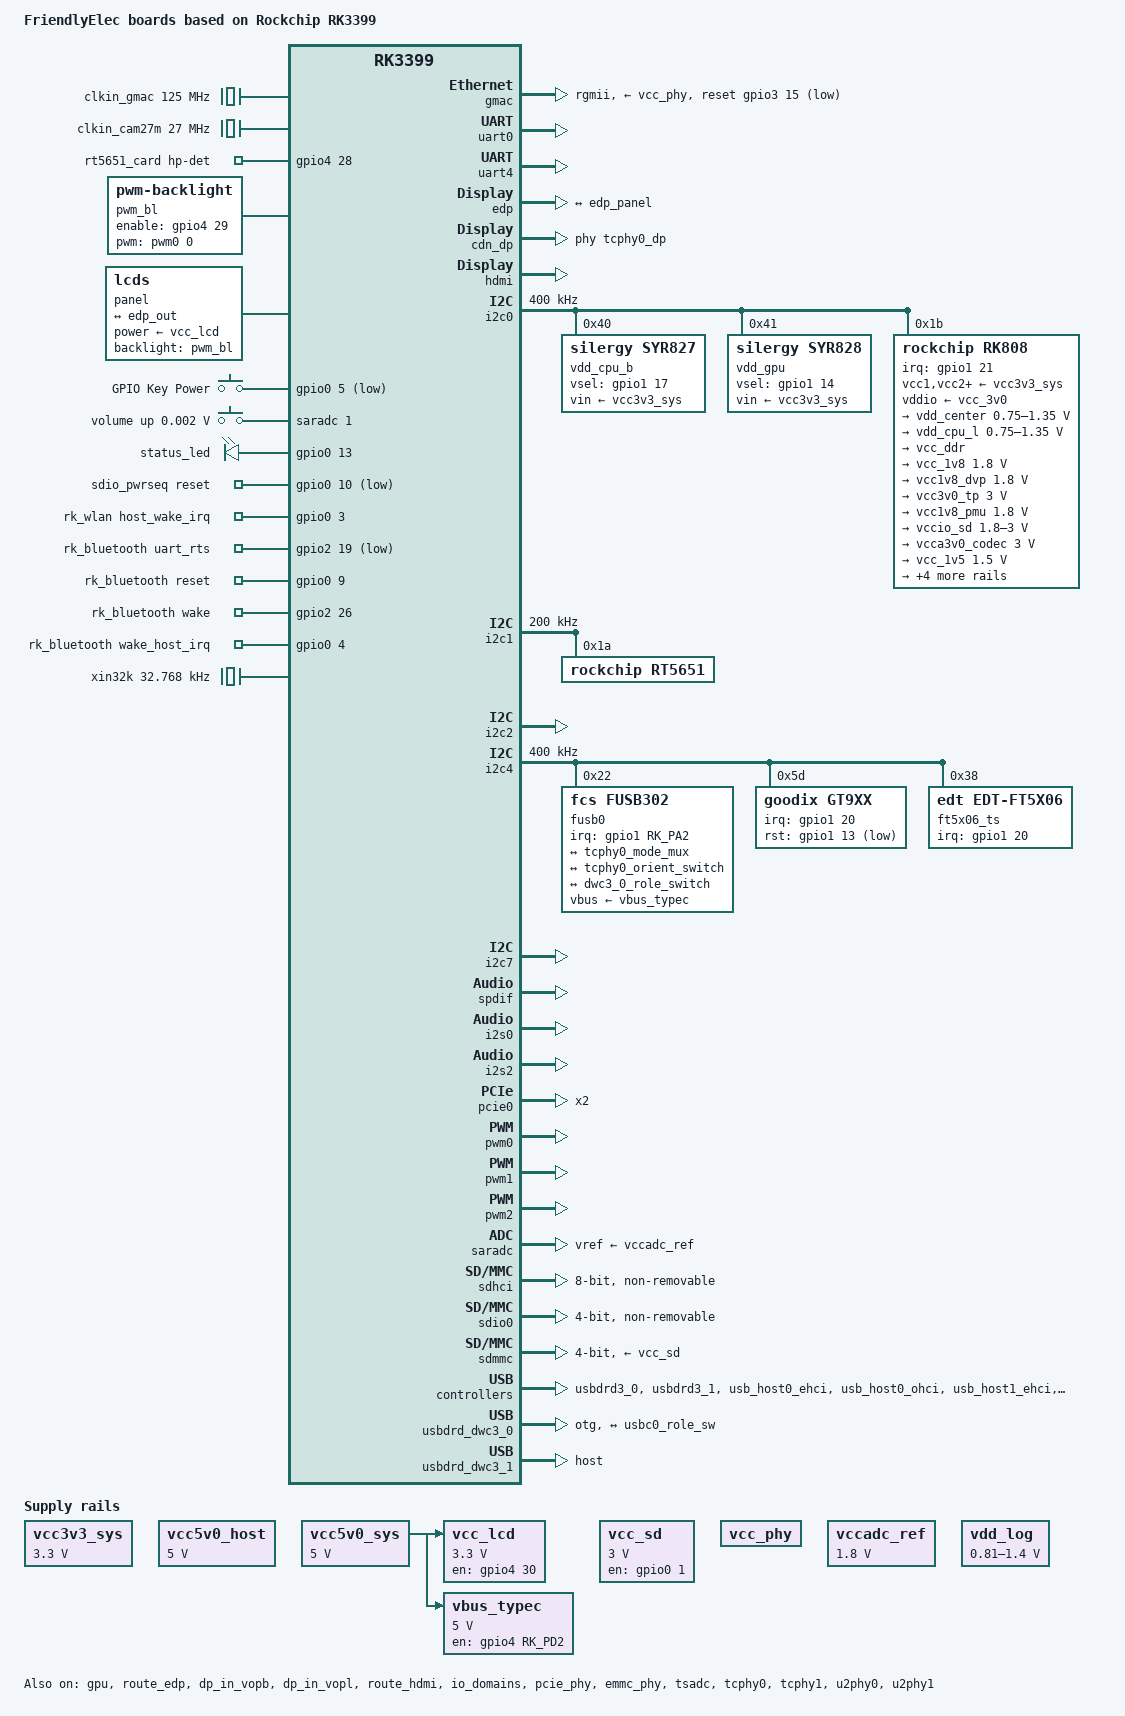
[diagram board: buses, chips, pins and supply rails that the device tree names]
// SPDX-License-Identifier: (GPL-2.0+ OR MIT)
/*
 * Copyright (c) 2019 FriendlyElec Computer Tech. Co., Ltd.
 * (http://www.friendlyarm.com)
 *
 * Copyright (c) 2016 Fuzhou Rockchip Electronics Co., Ltd
 */

#include "dt-bindings/pwm/pwm.h"
#include <dt-bindings/usb/pd.h>
#include "rk3399.dtsi"
#include "rk3399-opp.dtsi"
#include "rk3399-vop-clk-set.dtsi"
#include "rk3399-android.dtsi"
#include "rk3399-nanopi4-rkisp1.dtsi"

/ {
	model = "FriendlyElec boards based on Rockchip RK3399";
	compatible = "friendlyelec,nanopi4",
		   "rockchip,android", "rockchip,rk3399";

	chosen: chosen {
		bootargs = "earlycon=uart8250,mmio32,0xff1a0000 console=ttyFIQ0 swiotlb=1 coherent_pool=1m";
	};

	mach: board {
		compatible = "friendlyelec,board";
		machine = "NANOPI4";
		hwrev = <255>;
		model = "NanoPi 4 Series";
		nvmem-cells = <&cpu_id>;
		nvmem-cell-names = "id";
	};

	aliases {
		spi1 = &spi1;
	};

	/* first 64k(0xff8c0000~0xff8d0000) for ddr and suspend */
	iram: sram@ff8d0000 {
		compatible = "mmio-sram";
		reg = <0x0 0xff8d0000 0x0 0x20000>; /* 128k */
	};

	clkin_gmac: external-gmac-clock {
		compatible = "fixed-clock";
		clock-frequency = <125000000>;
		clock-output-names = "clkin_gmac";
		#clock-cells = <0>;
	};

	clkin_cam27m: external-camera-clock {
		compatible = "fixed-clock";
		clock-frequency = <27000000>;
		clock-output-names = "CLK_CAMERA_27MHZ";
		#clock-cells = <0>;
	};

	vcc3v3_sys: vcc3v3-sys {
		compatible = "regulator-fixed";
		regulator-name = "vcc3v3_sys";
		regulator-always-on;
		regulator-boot-on;
		regulator-min-microvolt = <3300000>;
		regulator-max-microvolt = <3300000>;
	};

	vcc5v0_host: vcc5v0-host-regulator {
		compatible = "regulator-fixed";
		regulator-name = "vcc5v0_host";
		regulator-always-on;
		regulator-boot-on;
		regulator-min-microvolt = <5000000>;
		regulator-max-microvolt = <5000000>;
	};

	vcc5v0_sys: vcc5v0-sys {
		compatible = "regulator-fixed";
		regulator-name = "vcc5v0_sys";
		regulator-always-on;
		regulator-boot-on;
		regulator-min-microvolt = <5000000>;
		regulator-max-microvolt = <5000000>;
	};

	vcc_sd: vcc-sd {
		compatible = "regulator-fixed";
		enable-active-high;
		gpio = <&gpio0 1 GPIO_ACTIVE_HIGH>;
		pinctrl-names = "default";
		pinctrl-0 = <&vcc_sd_h>;
		regulator-name = "vcc_sd";
		regulator-boot-on;
		regulator-min-microvolt = <3000000>;
		regulator-max-microvolt = <3000000>;
	};

	vcc_phy: vcc-phy-regulator {
		compatible = "regulator-fixed";
		regulator-name = "vcc_phy";
		regulator-always-on;
		regulator-boot-on;
	};

	vcc_lcd: vcc-lcd {
		compatible = "regulator-fixed";
		regulator-name = "vcc_lcd";
		gpio = <&gpio4 30 GPIO_ACTIVE_HIGH>;
		startup-delay-us = <20000>;
		enable-active-high;
		regulator-min-microvolt = <3300000>;
		regulator-max-microvolt = <3300000>;
		regulator-boot-on;
		vin-supply = <&vcc5v0_sys>;
	};

	vccadc_ref: vccadc-ref {
		compatible = "regulator-fixed";
		regulator-name = "vcc1v8_sys";
		regulator-always-on;
		regulator-boot-on;
		regulator-min-microvolt = <1800000>;
		regulator-max-microvolt = <1800000>;
	};

	vbus_typec: vbus-typec {
		compatible = "regulator-fixed";
		regulator-min-microvolt = <5000000>;
		regulator-max-microvolt = <5000000>;
		regulator-name = "vbus_typec";
		enable-active-high;
		gpios = <&gpio4 RK_PD2 GPIO_ACTIVE_HIGH>;
		vin-supply = <&vcc5v0_sys>;
		pinctrl-names = "default";
		pinctrl-0 = <&vbus_typec_pwren>;
	};

	vdd_log: vdd-log {
		compatible = "pwm-regulator";
		pwms = <&pwm2 0 25000 1>;
		regulator-name = "vdd_log";
		regulator-min-microvolt = <810000>;
		regulator-max-microvolt = <1400000>;
		regulator-always-on;
		regulator-boot-on;

		/* for rockchip boot on */
		rockchip,pwm_id = <2>;
		rockchip,pwm_voltage = <900000>;
	};

	dp_sound: dp-sound {
		status = "okay";
		compatible = "rockchip,cdndp-sound";
		rockchip,cpu = <&spdif>;
		rockchip,codec = <&cdn_dp 1>;
	};

	rt5651_card: rt5651-sound {
		status = "okay";
		compatible = "simple-audio-card";
		pinctrl-names = "default";
		pinctrl-0 = <&hp_det>;

		simple-audio-card,name = "realtek,rt5651-codec";
		simple-audio-card,format = "i2s";
		simple-audio-card,mclk-fs = <256>;
		simple-audio-card,hp-det-gpio = <&gpio4 28 GPIO_ACTIVE_HIGH>;

		simple-audio-card,widgets =
			"Microphone", "Mic Jack",
			"Headphone", "Headphone Jack";
		simple-audio-card,routing =
			"IN1P", "Mic Jack",
			"Headphone Jack", "HPOL",
			"Headphone Jack", "HPOR";

		simple-audio-card,cpu {
			sound-dai = <&i2s0>;
		};
		simple-audio-card,codec {
			sound-dai = <&rt5651>;
		};
	};

	hdmi_sound: hdmi-sound {
		status = "okay";
		compatible = "simple-audio-card";
		simple-audio-card,format = "i2s";
		simple-audio-card,mclk-fs = <256>;
		simple-audio-card,name = "rockchip,hdmi";

		simple-audio-card,cpu {
			sound-dai = <&i2s2>;
		};
		simple-audio-card,codec {
			sound-dai = <&hdmi>;
		};
	};

	/* if enable dp_sound, should disable spdif_sound and spdif_out */
	spdif-sound {
		status = "disabled";
		compatible = "simple-audio-card";
		simple-audio-card,name = "ROCKCHIP,SPDIF";
		simple-audio-card,cpu {
			sound-dai = <&spdif>;
		};
		simple-audio-card,codec {
			sound-dai = <&spdif_out>;
		};
	};

	spdif_out: spdif-out {
		status = "disabled";
		compatible = "linux,spdif-dit";
		#sound-dai-cells = <0>;
	};

	pwm_bl: backlight {
		status = "disabled";
		compatible = "pwm-backlight";
		pwms = <&pwm0 0 25000 0>;
		brightness-levels = <
			  0   1   2   3   4   5   6   7
			  8   9  10  11  12  13  14  15
			 16  17  18  19  20  21  22  23
			 24  25  26  27  28  29  30  31
			 32  33  34  35  36  37  38  39
			 40  41  42  43  44  45  46  47
			 48  49  50  51  52  53  54  55
			 56  57  58  59  60  61  62  63
			 64  65  66  67  68  69  70  71
			 72  73  74  75  76  77  78  79
			 80  81  82  83  84  85  86  87
			 88  89  90  91  92  93  94  95
			 96  97  98  99 100 101 102 103
			104 105 106 107 108 109 110 111
			112 113 114 115 116 117 118 119
			120 121 122 123 124 125 126 127
			128 129 130 131 132 133 134 135
			136 137 138 139 140 141 142 143
			144 145 146 147 148 149 150 151
			152 153 154 155 156 157 158 159
			160 161 162 163 164 165 166 167
			168 169 170 171 172 173 174 175
			176 177 178 179 180 181 182 183
			184 185 186 187 188 189 190 191
			192 193 194 195 196 197 198 199
			200 201 202 203 204 205 206 207
			208 209 210 211 212 213 214 215
			216 217 218 219 220 221 222 223
			224 225 226 227 228 229 230 231
			232 233 234 235 236 237 238 239
			240 241 242 243 244 245 246 247
			248 249 250 251 252 253 254 255>;
		default-brightness-level = <200>;
	};

	panel: edp-panel {
		compatible = "lcds", "simple-panel";
		status = "okay";

		backlight = <&pwm_bl>;
		power-supply = <&vcc_lcd>;
		prepare-delay-ms = <20>;
		enable-delay-ms = <20>;

		port {
			edp_panel: endpoint {
				remote-endpoint = <&edp_out>;
			};
		};
	};

	/delete-node/ gpio-keys;
	gpio_keys: gpio-keys {
		compatible = "gpio-keys";
		pinctrl-names = "default";
		pinctrl-0 = <&power_key>;

		power {
			debounce-interval = <100>;
			gpios = <&gpio0 5 GPIO_ACTIVE_LOW>;
			label = "GPIO Key Power";
			linux,code = <KEY_POWER>;
			debounce-interval = <20>;
			wakeup-source;
		};
	};

	adc_keys: adc-keys {
		compatible = "adc-keys";
		io-channels = <&saradc 1>;
		io-channel-names = "buttons";
		keyup-threshold-microvolt = <1800000>;
		poll-interval = <100>;

		vol-up-key {
			label = "volume up";
			linux,code = <KEY_VOLUMEUP>;
			press-threshold-microvolt = <1750>;
		};
	};

	leds: gpio-leds {
		compatible = "gpio-leds";
		pinctrl-names = "default";
		pinctrl-0 =<&leds_gpio>;

		led@1 {
			gpios = <&gpio0 13 GPIO_ACTIVE_HIGH>;
			label = "status_led";
			linux,default-trigger = "heartbeat";
			linux,default-trigger-delay-ms = <0>;
		};
	};

	sdio_pwrseq: sdio-pwrseq {
		compatible = "mmc-pwrseq-simple";
		clocks = <&rk808 1>;
		clock-names = "ext_clock";
		pinctrl-names = "default";
		pinctrl-0 = <&wifi_enable_h>;

		/*
		 * On the module itself this is one of these (depending
		 * on the actual card populated):
		 * - SDIO_RESET_L_WL_REG_ON
		 * - PDN (power down when low)
		 */
		reset-gpios = <&gpio0 10 GPIO_ACTIVE_LOW>; /* GPIO0_B2 */
	};

	rk_wlan: wireless-wlan {
		compatible = "wlan-platdata";
		rockchip,grf = <&grf>;
		wifi_chip_type = "ap6354";
		sdio_vref = <1800>;
		WIFI,host_wake_irq = <&gpio0 3 GPIO_ACTIVE_HIGH>; /* GPIO0_a3 */
		status = "okay";
	};

	rk_bluetooth: wireless-bluetooth {
		compatible = "bluetooth-platdata";
		clocks = <&rk808 1>;
		clock-names = "ext_clock";
		//wifi-bt-power-toggle;
		uart_rts_gpios = <&gpio2 19 GPIO_ACTIVE_LOW>; /* GPIO2_C3 */
		pinctrl-names = "default", "rts_gpio";
		pinctrl-0 = <&uart0_rts>;
		pinctrl-1 = <&uart0_gpios>;
		//BT,power_gpio  = <&gpio3 19 GPIO_ACTIVE_HIGH>; /* GPIOx_xx */
		BT,reset_gpio    = <&gpio0 9 GPIO_ACTIVE_HIGH>; /* GPIO0_B1 */
		BT,wake_gpio     = <&gpio2 26 GPIO_ACTIVE_HIGH>; /* GPIO2_D2 */
		BT,wake_host_irq = <&gpio0 4 GPIO_ACTIVE_HIGH>; /* GPIO0_A4 */
		status = "okay";
	};

	test-power {
		status = "okay";
	};

	xin32k: xin32k {
		compatible = "fixed-clock";
		clock-frequency = <32768>;
		clock-output-names = "xin32k";
		#clock-cells = <0>;
	};
};

&cpu_l0 {
	cpu-supply = <&vdd_cpu_l>;
};

&cpu_l1 {
	cpu-supply = <&vdd_cpu_l>;
};

&cpu_l2 {
	cpu-supply = <&vdd_cpu_l>;
};

&cpu_l3 {
	cpu-supply = <&vdd_cpu_l>;
};

&cpu_b0 {
	cpu-supply = <&vdd_cpu_b>;
};

&cpu_b1 {
	cpu-supply = <&vdd_cpu_b>;
};

&gpu {
	status = "okay";
	mali-supply = <&vdd_gpu>;
};

&gmac {
	phy-supply = <&vcc_phy>;
	phy-mode = "rgmii";
	clock_in_out = "input";
	snps,reset-gpio = <&gpio3 15 GPIO_ACTIVE_LOW>;
	snps,reset-active-low;
	snps,reset-delays-us = <0 10000 50000>;
	assigned-clocks = <&cru SCLK_RMII_SRC>;
	assigned-clock-parents = <&clkin_gmac>;
	pinctrl-names = "default";
	pinctrl-0 = <&rgmii_pins>;
	snps,aal;
	snps,rxpbl = <0x4>;
	snps,txpbl = <0x4>;
	tx_delay = <0x28>;
	rx_delay = <0x11>;
	handle_cpu_id = <1>;
	status = "okay";
};

&spi1 {
	status = "disabled";
	pinctrl-names = "default", "sleep";
	pinctrl-1 = <&spi1_gpio>;

	spidev0: spidev@0 {
		compatible = "rockchip,spidev";
		reg = <0>;
		spi-max-frequency = <10000000>;
		status = "okay";
	};
};

&uart0 {
	pinctrl-names = "default";
	pinctrl-0 = <&uart0_xfer &uart0_cts>;
	status = "okay";
};

&uart2 {
	status = "disabled";
};

&uart4 {
	status = "okay";
};

&vopb {
	assigned-clocks = <&cru DCLK_VOP0_DIV>;
	assigned-clock-parents = <&cru PLL_VPLL>;
};

&vopl {
	assigned-clocks = <&cru DCLK_VOP1_DIV>;
	assigned-clock-parents = <&cru PLL_CPLL>;
};

&edp {
	status = "okay";
	force-hpd;

	ports {
		port@1 {
			reg = <1>;

			edp_out: endpoint {
				remote-endpoint = <&edp_panel>;
			};
		};
	};
};

&edp_in_vopb {
	status = "disabled";
};

&route_edp {
	status = "okay";
	connect = <&vopl_out_edp>;
	logo,mode = "center";
};

&cdn_dp {
	status = "okay";
	phys = <&tcphy0_dp>;
};

&dp_in_vopb {
	status = "okay";
};

&dp_in_vopl {
	status = "okay";
};

&hdmi {
	status = "okay";
	ddc-i2c-bus = <&i2c7>;
	/delete-property/ pinctrl-names;
	/delete-property/ pinctrl-0;
	rockchip,defaultmode = <1>; /* CEA 1920x1080@60Hz */
};

&hdmi_in_vopl {
	status = "disabled";
};

&route_hdmi {
	status = "okay";
	logo,mode = "center";
};

&isp0_mmu {
	status = "okay";
};

&isp1_mmu {
	status = "okay";
};

&i2c0 {
	status = "okay";
	i2c-scl-rising-time-ns = <160>;
	i2c-scl-falling-time-ns = <30>;
	clock-frequency = <400000>;

	vdd_cpu_b: syr827@40 {
		compatible = "silergy,syr827";
		reg = <0x40>;
		vin-supply = <&vcc3v3_sys>;
		regulator-compatible = "fan53555-reg";
		pinctrl-names = "default";
		pinctrl-0 = <&vsel1_gpio>;
		vsel-gpios = <&gpio1 17 GPIO_ACTIVE_HIGH>;
		regulator-name = "vdd_cpu_b";
		regulator-min-microvolt = <712500>;
		regulator-max-microvolt = <1500000>;
		regulator-ramp-delay = <1000>;
		fcs,suspend-voltage-selector = <1>;
		regulator-always-on;
		regulator-boot-on;
		regulator-initial-state = <3>;
			regulator-state-mem {
			regulator-off-in-suspend;
		};
	};

	vdd_gpu: syr828@41 {
		compatible = "silergy,syr828";
		reg = <0x41>;
		vin-supply = <&vcc3v3_sys>;
		regulator-compatible = "fan53555-reg";
		pinctrl-names = "default";
		pinctrl-0 = <&vsel2_gpio>;
		vsel-gpios = <&gpio1 14 GPIO_ACTIVE_HIGH>;
		regulator-name = "vdd_gpu";
		regulator-min-microvolt = <712500>;
		regulator-max-microvolt = <1500000>;
		regulator-ramp-delay = <1000>;
		fcs,suspend-voltage-selector = <1>;
		regulator-always-on;
		regulator-boot-on;
		regulator-initial-state = <3>;
			regulator-state-mem {
			regulator-off-in-suspend;
		};
	};

	rk808: pmic@1b {
		compatible = "rockchip,rk808";
		reg = <0x1b>;
		interrupt-parent = <&gpio1>;
		interrupts = <21 IRQ_TYPE_LEVEL_LOW>;
		pinctrl-names = "default";
		pinctrl-0 = <&pmic_int_l>;
		rockchip,system-power-controller;
		wakeup-source;
		#clock-cells = <1>;
		clock-output-names = "rk808-clkout1", "rk808-clkout2";

		vcc1-supply = <&vcc3v3_sys>;
		vcc2-supply = <&vcc3v3_sys>;
		vcc3-supply = <&vcc3v3_sys>;
		vcc4-supply = <&vcc3v3_sys>;
		vcc6-supply = <&vcc3v3_sys>;
		vcc7-supply = <&vcc3v3_sys>;
		vcc8-supply = <&vcc3v3_sys>;
		vcc9-supply = <&vcc3v3_sys>;
		vcc10-supply = <&vcc3v3_sys>;
		vcc11-supply = <&vcc3v3_sys>;
		vcc12-supply = <&vcc3v3_sys>;
		vddio-supply = <&vcc_3v0>;

		regulators {
			vdd_center: DCDC_REG1 {
				regulator-always-on;
				regulator-boot-on;
				regulator-min-microvolt = <750000>;
				regulator-max-microvolt = <1350000>;
				regulator-ramp-delay = <6001>;
				regulator-name = "vdd_center";
				regulator-state-mem {
					regulator-off-in-suspend;
				};
			};

			vdd_cpu_l: DCDC_REG2 {
				regulator-always-on;
				regulator-boot-on;
				regulator-min-microvolt = <750000>;
				regulator-max-microvolt = <1350000>;
				regulator-ramp-delay = <6001>;
				regulator-name = "vdd_cpu_l";
				regulator-state-mem {
					regulator-off-in-suspend;
				};
			};

			vcc_ddr: DCDC_REG3 {
				regulator-always-on;
				regulator-boot-on;
				regulator-name = "vcc_ddr";
				regulator-state-mem {
					regulator-on-in-suspend;
				};
			};

			vcc_1v8: DCDC_REG4 {
				regulator-always-on;
				regulator-boot-on;
				regulator-min-microvolt = <1800000>;
				regulator-max-microvolt = <1800000>;
				regulator-name = "vcc_1v8";
				regulator-state-mem {
					regulator-on-in-suspend;
					regulator-suspend-microvolt = <1800000>;
				};
			};

			vcc1v8_dvp: LDO_REG1 {
				regulator-always-on;
				regulator-boot-on;
				regulator-min-microvolt = <1800000>;
				regulator-max-microvolt = <1800000>;
				regulator-name = "vcc1v8_dvp";
				regulator-state-mem {
					regulator-off-in-suspend;
				};
			};

			vcc3v0_tp: LDO_REG2 {
				regulator-always-on;
				regulator-boot-on;
				regulator-min-microvolt = <3000000>;
				regulator-max-microvolt = <3000000>;
				regulator-name = "vcc3v0_tp";
				regulator-state-mem {
					regulator-off-in-suspend;
				};
			};

			vcc1v8_pmu: LDO_REG3 {
				regulator-always-on;
				regulator-boot-on;
				regulator-min-microvolt = <1800000>;
				regulator-max-microvolt = <1800000>;
				regulator-name = "vcc1v8_pmu";
				regulator-state-mem {
					regulator-on-in-suspend;
					regulator-suspend-microvolt = <1800000>;
				};
			};

			vccio_sd: LDO_REG4 {
				regulator-always-on;
				regulator-boot-on;
				regulator-min-microvolt = <1800000>;
				regulator-max-microvolt = <3000000>;
				regulator-init-microvolt = <3000000>;
				regulator-name = "vccio_sd";
				regulator-state-mem {
					regulator-on-in-suspend;
					regulator-suspend-microvolt = <3000000>;
				};
			};

			vcca3v0_codec: LDO_REG5 {
				regulator-always-on;
				regulator-boot-on;
				regulator-min-microvolt = <3000000>;
				regulator-max-microvolt = <3000000>;
				regulator-name = "vcca3v0_codec";
				regulator-state-mem {
					regulator-off-in-suspend;
				};
			};

			vcc_1v5: LDO_REG6 {
				regulator-always-on;
				regulator-boot-on;
				regulator-min-microvolt = <1500000>;
				regulator-max-microvolt = <1500000>;
				regulator-name = "vcc_1v5";
				regulator-state-mem {
					regulator-on-in-suspend;
					regulator-suspend-microvolt = <1500000>;
				};
			};

			vcca1v8_codec: LDO_REG7 {
				regulator-always-on;
				regulator-boot-on;
				regulator-min-microvolt = <1800000>;
				regulator-max-microvolt = <1800000>;
				regulator-name = "vcca1v8_codec";
				regulator-state-mem {
					regulator-off-in-suspend;
				};
			};

			vcc_3v0: LDO_REG8 {
				regulator-always-on;
				regulator-boot-on;
				regulator-min-microvolt = <3000000>;
				regulator-max-microvolt = <3000000>;
				regulator-name = "vcc_3v0";
				regulator-state-mem {
					regulator-on-in-suspend;
					regulator-suspend-microvolt = <3000000>;
				};
			};

			vcc3v3_s3: SWITCH_REG1 {
				regulator-always-on;
				regulator-boot-on;
				regulator-name = "vcc3v3_s3";
				regulator-state-mem {
					regulator-off-in-suspend;
				};
			};

			vcc3v3_s0: SWITCH_REG2 {
				regulator-always-on;
				regulator-boot-on;
				regulator-name = "vcc3v3_s0";
				regulator-state-mem {
					regulator-off-in-suspend;
				};
			};
		};
	};
};

&i2c1 {
	status = "okay";
	i2c-scl-rising-time-ns = <150>;
	i2c-scl-falling-time-ns = <30>;
	clock-frequency = <200000>;

	rt5651: rt5651@1a {
		#sound-dai-cells = <0>;
		compatible = "rockchip,rt5651";
		reg = <0x1a>;
		clocks = <&cru SCLK_I2S_8CH_OUT>;
		clock-names = "mclk";
		pinctrl-names = "default";
		pinctrl-0 = <&i2s_8ch_mclk>;
		status = "okay";
	};
};

&i2c2 {
	status = "okay";
};

&i2c4 {
	status = "okay";
	i2c-scl-rising-time-ns = <160>;
	i2c-scl-falling-time-ns = <30>;
	clock-frequency = <400000>;

	fusb0: typec-portc@22 {
		compatible = "fcs,fusb302";
		reg = <0x22>;
		interrupt-parent = <&gpio1>;
		interrupts = <RK_PA2 IRQ_TYPE_LEVEL_LOW>;
		pinctrl-names = "default";
		pinctrl-0 = <&fusb0_int>;
		vbus-supply = <&vbus_typec>;

		connector {
			compatible = "usb-c-connector";
			data-role = "dual";
			displayport = <&cdn_dp 0>;
			label = "USB-C";
			op-sink-microwatt = <1000000>;
			power-role = "dual";
			sink-pdos =
				<PDO_FIXED(5000, 1000, PDO_FIXED_USB_COMM)>;
			source-pdos =
				<PDO_FIXED(5000, 1500, PDO_FIXED_USB_COMM)>;
			try-power-role = "sink";

			altmodes {
				#address-cells = <1>;
				#size-cells = <0>;

				altmode@0 {
					reg = <0>;
					svid = <0xff01>;
					vdo = <0xffffffff>;
				};
			};

			ports {
				#address-cells = <1>;
				#size-cells = <0>;

				port@0 {
					reg = <0>;
					usbc_mux: endpoint {
						remote-endpoint = <&tcphy0_mode_mux>;
					};
				};

				port@1 {
					reg = <1>;
					usbc_orien_sw: endpoint {
						remote-endpoint = <&tcphy0_orient_switch>;
					};
				};
			};
		};

		ports {
			#address-cells = <1>;
			#size-cells = <0>;

			port@0 {
				reg = <0>;
				usbc0_role_sw: endpoint {
					remote-endpoint = <&dwc3_0_role_switch>;
				};
			};
		};
	};

	gt9xx: goodix_ts@5d {
		compatible = "goodix,gt9xx";
		reg = <0x5d>;
		interrupt-parent = <&gpio1>;
		interrupts = <20 IRQ_TYPE_EDGE_FALLING>;
		goodix,irq-gpio = <&gpio1 20 GPIO_ACTIVE_HIGH>;
		goodix,rst-gpio = <&gpio1 13 GPIO_ACTIVE_LOW>;
		status = "okay";
	};

	ft5x06_ts@38 {
		compatible = "edt,edt-ft5x06", "ft5x06";
		reg = <0x38>;
		interrupt-parent = <&gpio1>;
		interrupts = <20 IRQ_TYPE_EDGE_FALLING>;
		status = "okay";
	};

	onewire_ts@2f {
		status = "disabled";
		compatible = "onewire";
		reg = <0x2f>;
		interrupt-parent = <&gpio1>;
		interrupts = <20 IRQ_TYPE_EDGE_FALLING>;
	};
};

&i2c7 {
	status = "okay";
};

&spdif {
	status = "okay";
	pinctrl-0 = <&spdif_bus>;
	i2c-scl-rising-time-ns = <450>;
	i2c-scl-falling-time-ns = <15>;
	#sound-dai-cells = <0>;
};

&i2s0_2ch_bus {
	rockchip,pins =
		<3 RK_PD0 1 &pcfg_pull_none>,
		<3 RK_PD1 1 &pcfg_pull_none>,
		<3 RK_PD2 1 &pcfg_pull_none>,
		<3 RK_PD3 1 &pcfg_pull_none>,
		<3 RK_PD7 1 &pcfg_pull_none>;
};

&i2s0 {
	status = "okay";
	rockchip,playback-channels = <8>;
	rockchip,capture-channels = <8>;
	#sound-dai-cells = <0>;
};

&i2s1 {
	assigned-clocks = <&cru SCLK_I2SOUT_SRC>;
	assigned-clock-parents = <&cru SCLK_I2S1_8CH>;
};

&i2s2 {
	#sound-dai-cells = <0>;
	status = "okay";
};

&io_domains {
	status = "okay";

	bt656-supply = <&vcc1v8_dvp>;		/* bt656_gpio2ab_ms */
	audio-supply = <&vcca1v8_codec>;	/* audio_gpio3d4a_ms */
	sdmmc-supply = <&vccio_sd>;		/* sdmmc_gpio4b_ms */
	gpio1830-supply = <&vcc_3v0>;		/* gpio1833_gpio4cd_ms */
};

&pmu_io_domains {
	status = "okay";
	pmu1830-supply = <&vcc_3v0>;
};

&pcie_phy {
	status = "okay";
	assigned-clocks = <&cru SCLK_PCIEPHY_REF>;
	assigned-clock-parents = <&cru SCLK_PCIEPHY_REF100M>;
	assigned-clock-rates = <100000000>;
};

&pcie0 {
	status = "okay";
	num-lanes = <2>;
	max-link-speed = <1>;
};

&pwm_bl {
	status = "okay";
	enable-gpios = <&gpio4 29 GPIO_ACTIVE_HIGH>;
};

&pwm0 {
	status = "okay";
};

&pwm1 {
	status = "okay";
};

&pwm2 {
	status = "okay";
	pinctrl-names = "active";
	pinctrl-0 = <&pwm2_pin_pull_down>;
};

&pwm3 {
	status = "disabled";
	pinctrl-names = "default";
	pinctrl-0 = <&pwm3a_pin>;

	interrupts = <GIC_SPI 61 IRQ_TYPE_LEVEL_HIGH 0>;
	compatible = "rockchip,remotectl-pwm";
	remote_pwm_id = <3>;
	handle_cpu_id = <1>;
	remote_support_psci = <1>;

	ir_key1 {
		rockchip,usercode = <0xc43b>;
		/* /system/usr/keylayout/ff420030_pwm.kl */
		rockchip,key_table =
			<0xff	116>,
			<0xef	105>,
			<0xed	106>,
			<0xf2	103>,
			<0xea	108>,
			<0xee	353>,
			<0xe9	113>,
			<0xf1	114>,
			<0xf3	115>,
			<0xae	139>,
			<0xeb	102>,
			<0xaf	158>,
			<0xf7	216>,
			<0xe5	 99>,
			<0xf5	388>;
	};
};

&rockchip_suspend {
	status = "okay";
	rockchip,sleep-debug-en = <1>;
	rockchip,sleep-mode-config = <
		(0
		| RKPM_SLP_ARMPD
		| RKPM_SLP_PERILPPD
		| RKPM_SLP_DDR_RET
		| RKPM_SLP_PLLPD
		| RKPM_SLP_CENTER_PD
		| RKPM_SLP_AP_PWROFF
		)
		>;
	rockchip,wakeup-config = <
		(0
		| RKPM_GPIO_WKUP_EN
		| RKPM_PWM_WKUP_EN
		)
		>;
		rockchip,pwm-regulator-config = <
		(0
		| PWM2_REGULATOR_EN
		)
		>;
		rockchip,power-ctrl =
		<&gpio1 17 GPIO_ACTIVE_HIGH>,
		<&gpio1 14 GPIO_ACTIVE_HIGH>;
};

&saradc {
	status = "okay";
	vref-supply = <&vccadc_ref>;
};

&sdhci {
	bus-width = <8>;
	mmc-hs400-1_8v;
	no-sdio;
	no-sd;
	non-removable;
	keep-power-in-suspend;
	mmc-hs400-enhanced-strobe;
	status = "okay";
};

&emmc_phy {
	status = "okay";
};

&sdio0 {
	clock-frequency = <150000000>;
	clock-freq-min-max = <100000 150000000>;
	no-mmc;
	no-sd;
	bus-width = <4>;
	disable-wp;
	cap-sd-highspeed;
	cap-sdio-irq;
	keep-power-in-suspend;
	mmc-pwrseq = <&sdio_pwrseq>;
	non-removable;
	num-slots = <1>;
	pinctrl-names = "default";
	pinctrl-0 = <&sdio0_bus4 &sdio0_cmd &sdio0_clk>;
	sd-uhs-sdr104;
	status = "okay";
};

&sdmmc {
	clock-frequency = <150000000>;
	clock-freq-min-max = <100000 150000000>;
	no-mmc;
	no-sdio;
	bus-width = <4>;
	cap-mmc-highspeed;
	cap-sd-highspeed;
	disable-wp;
	num-slots = <1>;
	sd-uhs-sdr104;
	vmmc-supply = <&vcc_sd>;
	vqmmc-supply = <&vccio_sd>;
	pinctrl-names = "default";
	pinctrl-0 = <&sdmmc_clk &sdmmc_cmd &sdmmc_cd &sdmmc_bus4>;
	status = "okay";
};

&tsadc {
	/* tshut mode 0:CRU 1:GPIO */
	rockchip,hw-tshut-mode = <1>;
	/* tshut polarity 0:LOW 1:HIGH */
	rockchip,hw-tshut-polarity = <1>;
	status = "okay";
};

&tcphy0 {
	status = "okay";

	svid = <0xff01>;
	orientation-switch;

	port {
		#address-cells = <1>;
		#size-cells = <0>;

		tcphy0_mode_mux: endpoint@0 {
			reg = <0>;
			remote-endpoint = <&usbc_mux>;
		};

		tcphy0_orient_switch: endpoint@1 {
			reg = <1>;
			remote-endpoint = <&usbc_orien_sw>;
		};
	};
};

&tcphy1 {
	status = "okay";
};

&tcphy1_dp {
	status = "disabled";
};

&u2phy0 {
	status = "okay";

	u2phy0_otg: otg-port {
		status = "okay";
	};

	u2phy0_host: host-port {
		phy-supply = <&vcc5v0_host>;
		status = "okay";
	};
};

&u2phy1 {
	status = "okay";

	u2phy1_otg: otg-port {
		status = "okay";
	};

	u2phy1_host: host-port {
		phy-supply = <&vcc5v0_host>;
		status = "okay";
	};
};

&usbdrd3_0 {
	status = "okay";
};

&usbdrd3_1 {
	status = "okay";
};

&usbdrd_dwc3_0 {
	status = "okay";
	dr_mode = "otg";
	usb-role-switch;

	port {
		#address-cells = <1>;
		#size-cells = <0>;
		dwc3_0_role_switch: endpoint@0 {
			reg = <0>;
			remote-endpoint = <&usbc0_role_sw>;
		};
	};
};

&usbdrd_dwc3_1 {
	status = "okay";
	dr_mode = "host";
};

&usb_host0_ehci {
	status = "okay";
};

&usb_host0_ohci {
	status = "okay";
};

&usb_host1_ehci {
	status = "okay";
};

&usb_host1_ohci {
	status = "okay";
};

&pinctrl {
	hdmi {
		/delete-node/ hdmi-i2c-xfer;
	};

	pmic {
		pmic_int_l: pmic-int-l {
			rockchip,pins = <1 21 RK_FUNC_GPIO &pcfg_pull_up>;
		};

		vsel1_gpio: vsel1-gpio {
			rockchip,pins = <1 17 RK_FUNC_GPIO &pcfg_pull_down>;
		};
		vsel2_gpio: vsel2-gpio {
			rockchip,pins = <1 14 RK_FUNC_GPIO &pcfg_pull_down>;
		};
	};

	vcc_sd {
		vcc_sd_h: vcc-sd-h {
			rockchip,pins = <0 1 RK_FUNC_GPIO &pcfg_pull_up>;
		};
	};

	fusb30x {
		fusb0_int: fusb0-int {
			rockchip,pins = <1 2 RK_FUNC_GPIO &pcfg_pull_up>;
		};
		vbus_typec_pwren: vbus-typec--pwren {
			rockchip,pins = <4 RK_PD2 RK_FUNC_GPIO &pcfg_pull_none>;
		};
	};

	sdio-pwrseq {
		wifi_enable_h: wifi-enable-h {
			rockchip,pins = <0 10 RK_FUNC_GPIO &pcfg_pull_none>;
		};
	};

	wireless-bluetooth {
		uart0_gpios: uart0-gpios {
			rockchip,pins = <2 19 RK_FUNC_GPIO &pcfg_pull_none>;
		};
	};

	rockchip-key {
		power_key: power-key {
			rockchip,pins = <0 5 RK_FUNC_GPIO &pcfg_pull_up>;
		};
	};

	lcd-panel {
		lcd_panel_reset: lcd-panel-reset {
			rockchip,pins = <4 30 RK_FUNC_GPIO &pcfg_pull_up>;
		};
	};

	headphone {
		hp_det: hp-det {
			rockchip,pins = <4 28 RK_FUNC_GPIO &pcfg_pull_up>;
		};
	};

	gpio-leds {
		leds_gpio: leds-gpio {
			rockchip,pins = <0 13 RK_FUNC_GPIO &pcfg_pull_none>;
		};
	};

	spi1 {
		spi1_gpio: spi1-gpio {
			rockchip,pins =
				<1 7 RK_FUNC_GPIO &pcfg_output_low>,
				<1 8 RK_FUNC_GPIO &pcfg_output_low>,
				<1 9 RK_FUNC_GPIO &pcfg_output_low>,
				<1 10 RK_FUNC_GPIO &pcfg_output_low>;
		};
	};

	pcie {
		pcie_gpios: pcie-gpios {
			rockchip,pins =
				<2 4 RK_FUNC_GPIO &pcfg_output_high>,
				<2 3 RK_FUNC_GPIO &pcfg_pull_up>,
				<2 2 RK_FUNC_GPIO &pcfg_pull_up>;
		};
	};
};
